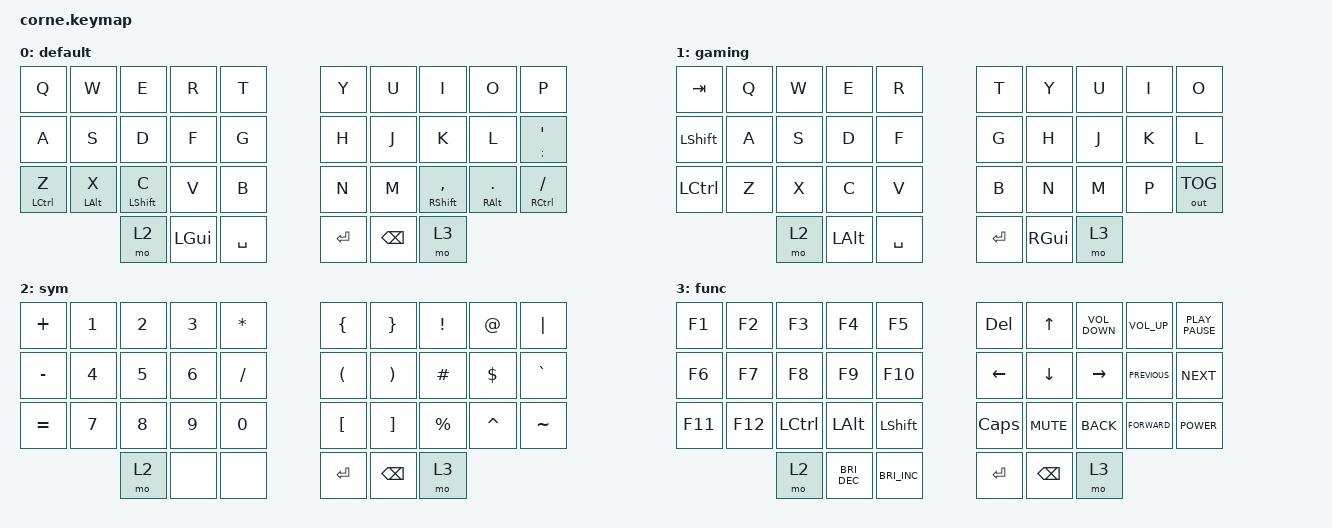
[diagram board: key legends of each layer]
/*
 * Copyright (c) 2020 The ZMK Contributors
 *
 * SPDX-License-Identifier: MIT
 */

#include <behaviors.dtsi>
#include <dt-bindings/zmk/keys.h>
#include <dt-bindings/zmk/outputs.h>

/ {
    combos {
        compatible = "zmk,combos";

        caps_lock {
            bindings = <&kp CAPSLOCK>;
            key-positions = <14 15>;
            layers = <0 2 3 1>;
        };

        Escape {
            bindings = <&kp ESCAPE>;
            key-positions = <0 1>;
            layers = <0 2 3 1>;
        };

        Hyphen {
            bindings = <&kp MINUS>;
            key-positions = <4 5>;
            layers = <0 2 3 1>;
        };

        Tab {
            bindings = <&kp TAB>;
            key-positions = <4 3>;
            layers = <0 2 3>;
        };

        toggle {
            bindings = <&tog 1>;
            key-positions = <30 35>;
            layers = <0 2 3 1>;
        };

        one_hand {
            bindings = <&mo 3>;
            key-positions = <30 31>;
            layers = <0 2 3 1>;
        };

        Face {
            bindings = <&kp COLON>;
            key-positions = <24 14>;
            layers = <0 2 3 1>;
        };

        one-hand-toggle {
            bindings = <&tog 1>;
            key-positions = <30 32>;
            layers = <1 0 2 3>;
        };
    };

    chosen { zmk,matrix_transform = &five_column_transform; };

    keymap {
        compatible = "zmk,keymap";

        default {
            // -----------------------------------------------------------------------------------------
            // |  TAB |  Q  |  W  |  E  |  R  |  T  |   |  Y  |  U   |  I  |  O  |  P  | BKSP |
            // | CTRL |  A  |  S  |  D  |  F  |  G  |   |  H  |  J   |  K  |  L  |  ;  |  '   |
            // | SHFT |  Z  |  X  |  C  |  V  |  B  |   |  N  |  M   |  ,  |  .  |  /  | ESC  |
            //                    | GUI | LWR | SPC |   | ENT | RSE  | ALT |

            bindings = <
&kp Q        &kp W           &kp E             &kp R         &kp T        &kp Y      &kp U          &kp I                  &kp O              &kp P
&kp A        &kp S           &kp D             &kp F         &kp G        &kp H      &kp J          &kp K                  &kp L              &mt SEMICOLON SINGLE_QUOTE
&mt LCTRL Z  &mt LEFT_ALT X  &mt LEFT_SHIFT C  &kp V         &kp B        &kp N      &kp M          &mt RIGHT_SHIFT COMMA  &mt RIGHT_ALT DOT  &mt RCTRL FSLH
                             &mo 2             &kp LEFT_GUI  &kp SPACE    &kp ENTER  &kp BACKSPACE  &mo 3
            >;
        };

        gaming {
            bindings = <
&kp TAB           &kp Q  &kp W  &kp E         &kp R        &kp T      &kp Y          &kp U  &kp I  &kp O
&kp LEFT_SHIFT    &kp A  &kp S  &kp D         &kp F        &kp G      &kp H          &kp J  &kp K  &kp L
&kp LEFT_CONTROL  &kp Z  &kp X  &kp C         &kp V        &kp B      &kp N          &kp M  &kp P  &out OUT_TOG
                         &mo 2  &kp LEFT_ALT  &kp SPACE    &kp ENTER  &kp RIGHT_GUI  &mo 3
            >;
        };

        sym {
            // -----------------------------------------------------------------------------------------
            // |  TAB |  1  |  2  |  3  |  4  |  5  |   |  6  |  7  |  8  |  9  |  0  | BKSP |
            // | BTCLR| BT1 | BT2 | BT3 | BT4 | BT5 |   | LFT | DWN |  UP | RGT |     |      |
            // | SHFT |     |     |     |     |     |   |     |     |     |     |     |      |
            //                    | GUI |     | SPC |   | ENT |     | ALT |

            bindings = <
&kp PLUS   &kp N1  &kp N2  &kp N3  &kp ASTERISK    &kp LEFT_BRACE        &kp RIGHT_BRACE        &kp EXCLAMATION  &kp AT_SIGN  &kp PIPE
&kp MINUS  &kp N4  &kp N5  &kp N6  &kp FSLH        &kp LEFT_PARENTHESIS  &kp RIGHT_PARENTHESIS  &kp HASH         &kp DOLLAR   &kp GRAVE
&kp EQUAL  &kp N7  &kp N8  &kp N9  &kp N0          &kp LEFT_BRACKET      &kp RIGHT_BRACKET      &kp PERCENT      &kp CARET    &kp TILDE
                   &mo 2   &none   &none           &kp ENTER             &kp BACKSPACE          &mo 3
            >;
        };

        func {
            // -----------------------------------------------------------------------------------------
            // |  TAB |  !  |  @  |  #  |  $  |  %  |   |  ^  |  &  |  *  |  (  |  )  | BKSP |
            // | CTRL |     |     |     |     |     |   |  -  |  =  |  [  |  ]  |  \  |  `   |
            // | SHFT |     |     |     |     |     |   |  _  |  +  |  {  |  }  | "|" |  ~   |
            //                    | GUI |     | SPC |   | ENT |     | ALT |

            bindings = <
&kp F1   &kp F2   &kp F3     &kp F4                &kp F5                  &kp DELETE      &kp UP_ARROW    &kp K_VOLUME_DOWN  &kp K_VOLUME_UP  &kp K_PLAY_PAUSE
&kp F6   &kp F7   &kp F8     &kp F9                &kp F10                 &kp LEFT_ARROW  &kp DOWN_ARROW  &kp RIGHT_ARROW    &kp K_PREVIOUS   &kp K_NEXT
&kp F11  &kp F12  &kp LCTRL  &kp LEFT_ALT          &kp LSHFT               &kp CAPSLOCK    &kp K_MUTE      &kp K_BACK         &kp K_FORWARD    &kp K_POWER
                  &mo 2      &kp C_BRIGHTNESS_DEC  &kp C_BRIGHTNESS_INC    &kp ENTER       &kp BACKSPACE   &mo 3
            >;
        };
    };
};
